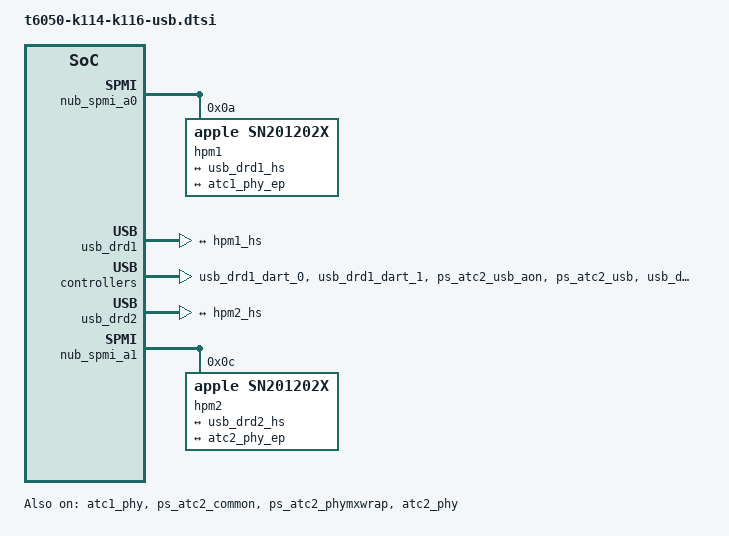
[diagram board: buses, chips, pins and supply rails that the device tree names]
// SPDX-License-Identifier: GPL-2.0+ OR MIT
/*
 * The K114c, K114s, K116c and K116s USB-C ports ATC1 (left-front) and ATC2 (right):
 * USB 2/3 and the PD controllers. A board file includes this after
 * t6050-peripherals.dtsi, which describes nub-spmi-a1 for these boards.
 *
 * From the boards' ADT, the same on all four:
 *   ATC0 usb-drd0 left-back  hpm0 nub-spmi-a0 0x0c (the boot link's debug port, not described)
 *   ATC1 usb-drd1 left-front hpm1 nub-spmi-a0 0x0a, port-number 2, acio-parent acio1
 *   ATC2 usb-drd2 right      hpm2 nub-spmi-a1 0x0c, port-number 3, acio-parent acio2
 *   hpm5 nub-spmi-a0 0x08 (MagSafe, not a USB-C connector)
 * The PD controllers are SN201202x. The USB4/Thunderbolt routers (acio1, acio2) and the
 * DisplayPort routes are not described here; the PHYs run in USB mode. The combo PHY driver
 * leaves ATC0 alone on purpose (apple,port-index 0).
 *
 * The boot loader fills the PHYs' tunables from the ADT through the atcphy aliases.
 */
/ {
	aliases {
		atcphy1 = &atc1_phy;
		atcphy2 = &atc2_phy;
	};
};

/* ==== The left-front USB-C port (ATC1) ==== */
&nub_spmi_a0 {
	status = "okay";

	hpm1: usb-pd@a {
		compatible = "apple,sn201202x";
		reg = <0xa SPMI_USID>;

		connector {
			compatible = "usb-c-connector";
			label = "USB-C Left-front";
			power-role = "dual";
			data-role = "dual";

			ports {
				#address-cells = <1>;
				#size-cells = <0>;

				port@0 {
					reg = <0>;
					hpm1_hs: endpoint {
						remote-endpoint = <&usb_drd1_hs>;
					};
				};

				port@1 {
					reg = <1>;
					hpm1_ss: endpoint {
						remote-endpoint = <&atc1_phy_ep>;
					};
				};
			};
		};
	};
};

&atc1_phy_mbox {
	status = "okay";
};

&atc1_phy {
	status = "okay";

	port {
		atc1_phy_ep: endpoint {
			remote-endpoint = <&hpm1_ss>;
		};
	};
};

&usb_drd1 {
	status = "okay";

	port {
		usb_drd1_hs: endpoint {
			remote-endpoint = <&hpm1_hs>;
		};
	};
};

&usb_drd1_dart_0 {
	status = "okay";
};

&usb_drd1_dart_1 {
	status = "okay";
};

/*
 * ==== The right USB-C port (ATC2) ====
 *
 * The HPM is on its own bus, nub-spmi-a1, and nothing hands the port off, so the power
 * domains, the PHY mailbox, the PHY, the DWC3 and its DARTs are enabled outright. The driver
 * polls the generation 4 bus and refuses an interrupt on it.
 */
&ps_atc2_common {
	status = "okay";
};

&ps_atc2_usb_aon {
	status = "okay";
};

&ps_atc2_phymxwrap {
	status = "okay";
};

&ps_atc2_usb {
	status = "okay";
};

&atc2_phy_mbox {
	status = "okay";
};

&atc2_phy {
	status = "okay";

	port {
		atc2_phy_ep: endpoint {
			remote-endpoint = <&hpm2_ss>;
		};
	};
};

&usb_drd2 {
	status = "okay";

	port {
		usb_drd2_hs: endpoint {
			remote-endpoint = <&hpm2_hs>;
		};
	};
};

&usb_drd2_dart_0 {
	status = "okay";
};

&usb_drd2_dart_1 {
	status = "okay";
};

&nub_spmi_a1 {
	/delete-property/ interrupts;
	status = "okay";

	hpm2: usb-pd@c {
		compatible = "apple,sn201202x";
		reg = <0xc SPMI_USID>;

		connector {
			compatible = "usb-c-connector";
			label = "USB-C Right";
			power-role = "dual";
			data-role = "dual";

			ports {
				#address-cells = <1>;
				#size-cells = <0>;

				port@0 {
					reg = <0>;
					hpm2_hs: endpoint {
						remote-endpoint = <&usb_drd2_hs>;
					};
				};

				port@1 {
					reg = <1>;
					hpm2_ss: endpoint {
						remote-endpoint = <&atc2_phy_ep>;
					};
				};
			};
		};
	};
};
